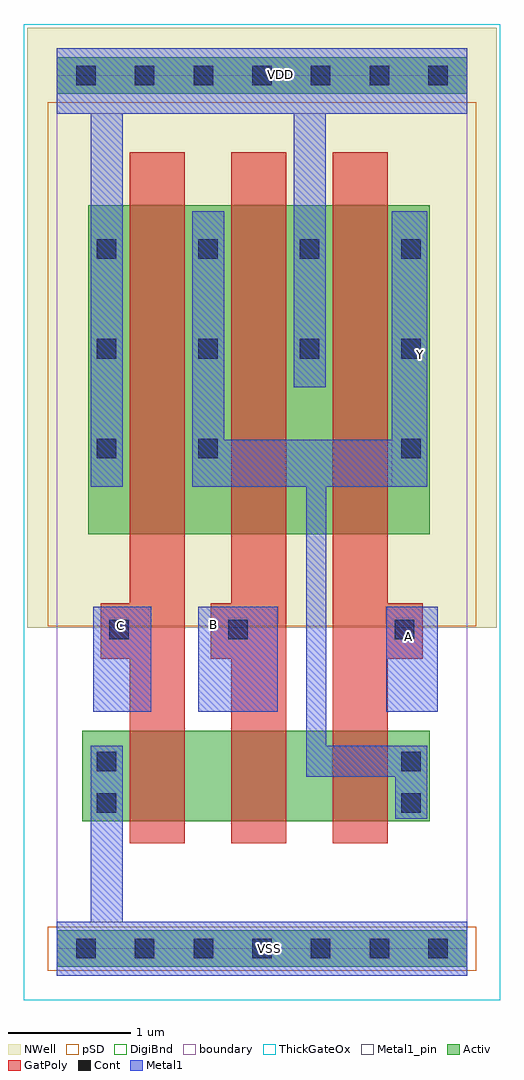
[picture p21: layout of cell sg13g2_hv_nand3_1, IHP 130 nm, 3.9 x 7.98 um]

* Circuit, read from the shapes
.subckt sg13g2_hv_nand3_1 A B C VDD VSS Y
XM1 n1 C VSS VSS sg13_hv_nmos w=0.74u l=0.45u
XM2 n2 B n1 VSS sg13_hv_nmos w=0.74u l=0.45u
XM3 Y A n2 VSS sg13_hv_nmos w=0.74u l=0.45u
XM4 Y C VDD VDD sg13_hv_pmos w=2.69u l=0.45u
XM5 VDD B Y VDD sg13_hv_pmos w=2.69u l=0.45u
XM6 Y A VDD VDD sg13_hv_pmos w=2.69u l=0.45u
.ends

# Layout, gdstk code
import gdstk
lib = gdstk.Library(unit=1e-6, precision=1e-09)
def R(c, l, rs):  # rectangles x0, y0, x1, y1
    for r in rs: c.add(gdstk.rectangle(r[:2], r[2:], *l))
def A(c, l, x, y, w, h, nx, ny, dx, dy):  # array of equal rectangles
    R(c, l, [(x+i*dx, y+j*dy, x+i*dx+w, y+j*dy+h) for i in range(nx) for j in range(ny)])
def P(c, l, *ps):  # polygons
    for p in ps: c.add(gdstk.Polygon(p, *l))
Activ = (1, 0)
GatPoly = (5, 0)
Cont = (6, 0)
Metal1 = (8, 0)
Metal1_pin = (8, 2)
pSD = (14, 0)
DigiBnd = (16, 0)
NWell = (31, 0)
ThickGateOx = (44, 0)
boundary = (189, 4)

sg13g2_hv_nand3_1 = lib.new_cell('sg13g2_hv_nand3_1')
R(sg13g2_hv_nand3_1, Activ, [(0,-0.15,3.36,0.15), (0.21,1.04,3.05,1.78), (0.26,3.39,3.05,6.08), (0,6.99,3.36,7.29)])
P(sg13g2_hv_nand3_1, GatPoly, [(2.26,0.86),(2.26,6.51),(2.71,6.51),(2.71,2.825),(2.995,2.825),(2.995,2.37),(2.71,2.37),(2.71,0.86)],
  [(1.43,0.86),(1.43,2.37),(1.26,2.37),(1.26,2.825),(1.43,2.825),(1.43,6.51),(1.88,6.51),(1.88,0.86)],
  [(0.6,0.86),(0.6,2.37),(0.36,2.37),(0.36,2.825),(0.6,2.825),(0.6,6.51),(1.05,6.51),(1.05,0.86)])
A(sg13g2_hv_nand3_1, Cont, 0.16, -0.08, 0.16, 0.16, 7, 2, 0.48, 7.14)
A(sg13g2_hv_nand3_1, Cont, 0.33, 4.825, 0.16, 0.16, 4, 2, 0.83, 0.815)
R(sg13g2_hv_nand3_1, Cont, [(0.33,1.11,0.49,1.27), (2.82,1.11,2.98,1.27), (0.33,1.45,0.49,1.61), (2.82,1.45,2.98,1.61), (0.43,2.53,0.59,2.69), (1.405,2.53,1.565,2.69), (2.765,2.53,2.925,2.69), (0.33,4.01,0.49,4.17), (1.16,4.01,1.32,4.17), (2.82,4.01,2.98,4.17)])
R(sg13g2_hv_nand3_1, Metal1, [(0.3,1.935,0.775,2.795), (1.16,1.935,1.81,2.795), (2.695,1.935,3.115,2.795)])
P(sg13g2_hv_nand3_1, Metal1, [(2.77,1.06),(2.77,1.405),(2.04,1.405),(2.04,3.775),(1.11,3.775),(1.11,6.03),(1.37,6.03),(1.37,4.16),(2.74,4.16),(2.74,6.03),(3.03,6.03),(3.03,3.775),(2.205,3.775),(2.205,1.66),(3.03,1.66),(3.03,1.06)],
  [(0,-0.22),(0,0.22),(0.28,0.22),(0.28,1.66),(0.54,1.66),(0.54,0.22),(3.36,0.22),(3.36,-0.22)],
  [(0.28,3.775),(0.28,6.825),(0,6.825),(0,7.36),(3.36,7.36),(3.36,6.825),(2.2,6.825),(2.2,4.59),(1.94,4.59),(1.94,6.825),(0.54,6.825),(0.54,3.775)])
R(sg13g2_hv_nand3_1, Metal1_pin, [(0,-0.22,3.36,0.22), (0.3,1.935,0.775,2.795), (1.16,1.935,1.81,2.795), (2.695,1.935,3.115,2.795), (2.74,3.775,3.03,6.03), (0,6.825,3.36,7.36)])
R(sg13g2_hv_nand3_1, pSD, [(-0.07,-0.18,3.43,0.18), (-0.07,2.635,3.43,6.92)])
R(sg13g2_hv_nand3_1, DigiBnd, [(0,0,3.36,7.14)])
R(sg13g2_hv_nand3_1, NWell, [(-0.24,2.625,3.6,7.53)])
R(sg13g2_hv_nand3_1, ThickGateOx, [(-0.27,-0.42,3.63,7.56)])
R(sg13g2_hv_nand3_1, boundary, [(0,0,3.36,7.14)])
sg13g2_hv_nand3_1.add(gdstk.Label('VDD', (1.83,7.145), layer=8, texttype=25))
sg13g2_hv_nand3_1.add(gdstk.Label('Y', (2.98,4.855), layer=8, texttype=25))
sg13g2_hv_nand3_1.add(gdstk.Label('B', (1.28,2.65), layer=8, texttype=25))
sg13g2_hv_nand3_1.add(gdstk.Label('C', (0.52,2.645), layer=8, texttype=25))
sg13g2_hv_nand3_1.add(gdstk.Label('A', (2.88,2.555), layer=8, texttype=25))
sg13g2_hv_nand3_1.add(gdstk.Label('VSS', (1.74,0), layer=8, texttype=25))

lib.write_gds('sg13g2_hv_nand3_1.gds')
